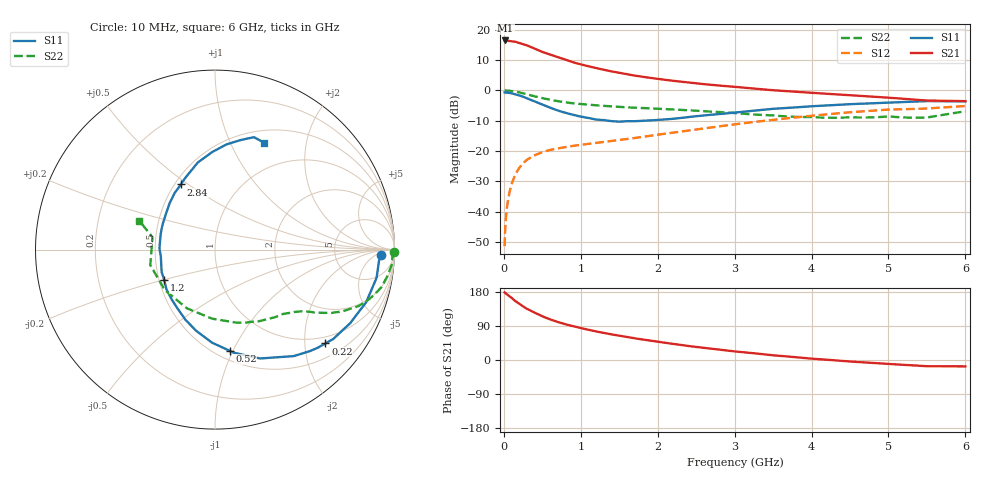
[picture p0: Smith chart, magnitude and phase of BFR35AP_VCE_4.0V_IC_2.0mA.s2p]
! Infineon Technologies  Discrete & RF Semiconductors
! BFR35AP
! VCE =  4.0 V,  IC =  2.0 mA
! Common Emitter S-Parameters:  Nov 2015
# GHz  S  MA  R  50
!  f  S11  S21  S12  S22
! GHz  MAG  ANG  MAG  ANG  MAG  ANG  MAG  ANG
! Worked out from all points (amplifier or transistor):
!   210 points, 10 MHz to 6 GHz, reference 50 ohm
!   highest |S21| = 16.4 dB at 20 MHz (marker M1)
!   |S21| within 3 dB of that: start of sweep to 429.4 MHz
!   unconditionally stable (mu >= 1): 1.179 GHz to 3.772 GHz; 5.495243 GHz to 5.516116 GHz
!   at 185 MHz: K = 0.22, MSG = 20.9 dB, |S12| = -26.2 dB
!   at 1.52 GHz: K = 1.13, MAG = 8.8 dB, |S12| = -16.3 dB
!   at 6 GHz: K = 0.99, MSG = 0.8 dB, |S12| = -5.2 dB
!   S11 on the Smith chart (normalised r, x): 10 MHz: 21, -9; 220 MHz: 0.83, -2.48; 520 MHz: 0.58, -0.97; 1.2 GHz: 0.53, -0.20; 2.84 GHz: 0.54, +0.47; 6 GHz: 0.65, +1.35
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0.01  0.9232 -2.0  6.525 178.6  0.0027 86.8  0.9992 -0.8
0.02  0.9159 -3.9  6.612 176.5  0.0059 88.5  0.9893 -1.7
0.04  0.9135 -7.9  6.57 173.4  0.0115 84.7  0.9901 -3.5
0.065  0.9049 -12.6  6.499 169.5  0.0184 81.6  0.985 -5.6
0.15  0.8577 -28.5  6.307 155.3  0.0408 73.2  0.9517 -12.6
0.22  0.8071 -40.4  5.886 145.8  0.0564 67.0  0.9104 -17.0
0.3  0.7381 -53.5  5.488 135.0  0.0715 61.2  0.8571 -21.6
0.4  0.6566 -67.5  4.866 124.8  0.0848 55.7  0.7932 -25.6
0.52  0.5693 -81.8  4.193 113.6  0.0973 50.6  0.7329 -28.8
0.6  0.5188 -91.8  3.877 107.2  0.1039 48.6  0.6989 -30.3
0.7  0.4651 -102.9  3.513 100.3  0.1099 46.8  0.6613 -32.0
0.82  0.4185 -114.1  3.117 93.2  0.1169 45.4  0.627 -33.5
1.02  0.3637 -132.7  2.628 83.3  0.1269 44.6  0.5898 -35.7
1.2  0.3292 -149.2  2.318 75.2  0.1358 44.4  0.5641 -38.0
1.6  0.3097 178.9  1.835 60.5  0.1572 46.3  0.5233 -43.2
2.02  0.3252 152.8  1.529 47.5  0.1866 47.6  0.4952 -50.3
2.84  0.4097 117.6  1.183 26.5  0.2581 46.4  0.4352 -69.6
3.1  0.4409 110.5  1.109 20.8  0.2845 44.6  0.4112 -77.8
4.1  0.5529 89.8  0.891 2.2  0.3903 34.7  0.3562 -120.7
5.1  0.6326 75.7  0.739 -11.6  0.4837 20.0  0.3622 -171.2
5.5  0.6629 70.9  0.677 -16.4  0.5004 13.3  0.3554 168.7
6  0.6557 65.3  0.662 -16.8  0.5501 8.8  0.4503 159.2
